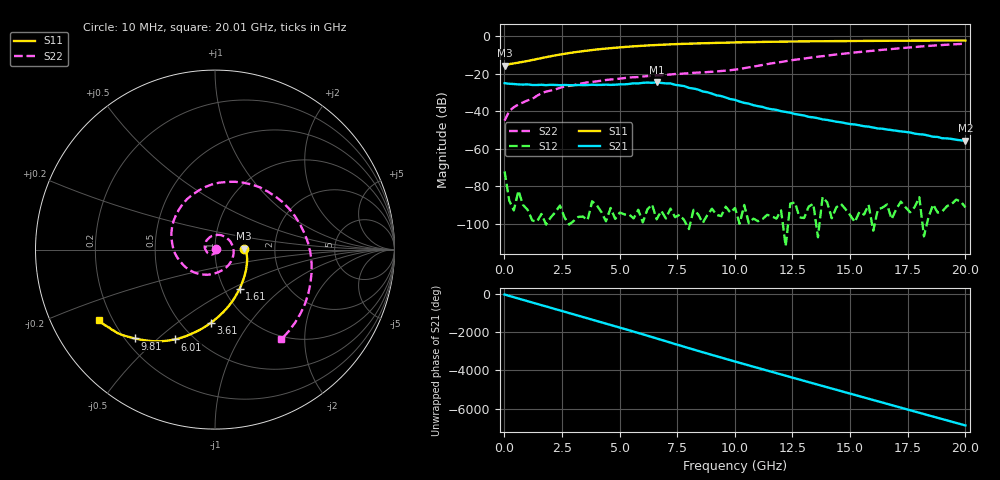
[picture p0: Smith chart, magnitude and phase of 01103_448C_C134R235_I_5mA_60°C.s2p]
!;Filter: kein Filter
!auto
!3/21/2019 9:27:39 AM
!3/21/2019 9:27:53 AM
!SP-Measurements Prober G4
!SP-Measurements Prober G4
!01103_448C
!134
!235
!12
!60
!-20
!0.00499992
!1.96
!0.64375220
!0.64375220
# Hz S  RI  R 50
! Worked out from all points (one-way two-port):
!   101 points, 10 MHz to 20.01 GHz, reference 50 ohm
!   highest |S21| = -24.66 dB at 6.61 GHz (marker M1); lowest = -55.7 dB at 20.01 GHz (marker M2)
!   lowest |S11| = -15.9 dB at 10 MHz (marker M3), VSWR 1.38, Z = 69.2 + j0.608 ohm
!   |S11| at or under -10 dB: start of sweep to 2.369 GHz
!   |S22| runs from -45.0 to -4.1 dB; largest |S21 - S12| = 0.058
!   S11 on the Smith chart (normalised r, x): 10 MHz: 1.38, +0.01; 1.61 GHz: 1.18, -0.55; 3.61 GHz: 0.69, -0.67; 6.01 GHz: 0.40, -0.57; 9.81 GHz: 0.24, -0.42; 20.01 GHz: 0.15, -0.27
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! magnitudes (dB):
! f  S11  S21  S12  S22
! 10 MHz  -15.9  -25.1  -72.1  -45.0
! 210 MHz  -15.0  -25.4  -87.6  -40.1
! 610 MHz  -14.2  -25.8  -82.4  -36.5
! 1.21 GHz  -12.8  -26.1  -98.2  -33.5
! 1.61 GHz  -11.8  -26.0  -94.7  -30.5
! 2.61 GHz  -9.5  -26.1  -96.6  -26.9
! 3.41 GHz  -8.1  -26.2  -96.1  -25.1
! 3.61 GHz  -7.8  -26.1  -98.1  -24.7
! 5.21 GHz  -5.9  -25.8  -95.0  -22.4
! 6.01 GHz  -5.2  -24.9  -99.2  -21.6
! 6.61 GHz  -4.8  -24.7  -97.6  -21.0
! 6.81 GHz  -4.7  -25.0  -93.1  -20.9
! 7.21 GHz  -4.5  -25.3  -91.9  -20.5
! 7.81 GHz  -4.2  -26.7  -98.1  -20.0
! 9.81 GHz  -3.5  -33.6  -94.0  -18.2
! 10.01 GHz  -3.5  -34.0  -91.6  -17.9
! 11.41 GHz  -3.1  -38.6  -95.2  -15.0
! 13.41 GHz  -2.8  -43.4  -89.4  -11.4
! 16.81 GHz  -2.6  -50.1  -97.5  -7.0
! 18.21 GHz  -2.5  -52.5  -106.7  -5.5
! 19.01 GHz  -2.4  -54.5  -93.3  -4.8
! 20.01 GHz  -2.4  -55.7  -91.2  -4.1
